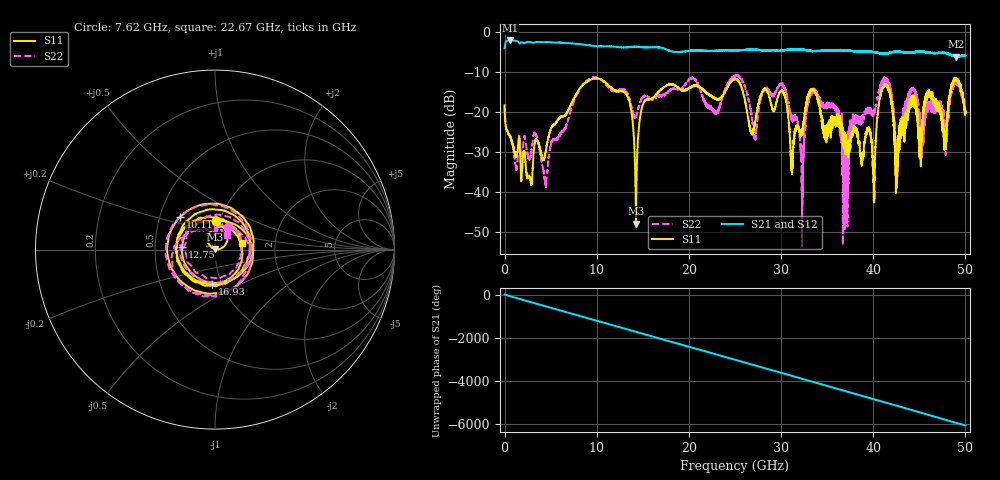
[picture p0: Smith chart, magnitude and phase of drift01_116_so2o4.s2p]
!Created with skrf (http://scikit-rf.org).
# Hz S RI R 50.0
!freq ReS11 ImS11 ReS21 ImS21 ReS12 ImS12 ReS22 ImS22
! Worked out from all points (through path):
!   10001 points, 300 kHz to 50 GHz, reference 50 ohm
!   highest |S21| = -2.00 dB at 570.3 MHz (marker M1); lowest = -6.0 dB at 48.98 GHz (marker M2)
!   group delay of S21, straight-line fit = 336 ps
!   lowest |S11| = -47.8 dB at 14.26 GHz (marker M3), VSWR 1.01, Z = 50 + j0.407 ohm
!   |S11| at or under -10 dB: start of sweep to end of sweep
!   |S22| runs from -53.4 to -10.5 dB; largest |S21 - S12| = 0.023
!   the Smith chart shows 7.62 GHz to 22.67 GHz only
!   S11 on the Smith chart (normalised r, x): 7.62 GHz: 0.97, +0.31; 10.11 GHz: 0.64, +0.25; 12.75 GHz: 0.69, +0.02; 16.93 GHz: 0.90, -0.36; 22.67 GHz: 1.34, +0.10
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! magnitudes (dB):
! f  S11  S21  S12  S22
! 300 kHz  -18.2  -4.0  -4.1  -18.0
! 570.3 MHz  -26.0  -2.0  -2.0  -26.0
! 4.445 GHz  -29.9  -2.4  -2.4  -37.8
! 7.62 GHz  -16.1  -2.8  -2.8  -16.8
! 8.335 GHz  -13.5  -3.0  -3.0  -13.5
! 10.11 GHz  -11.5  -3.5  -3.4  -11.3
! 12.75 GHz  -14.7  -3.7  -3.7  -14.3
! 14.26 GHz  -47.8  -3.6  -3.6  -21.2
! 16.67 GHz  -14.9  -3.7  -3.7  -15.8
! 16.93 GHz  -14.4  -3.8  -3.8  -15.8
! 22.67 GHz  -16.3  -4.6  -4.6  -19.5
! 25 GHz  -11.6  -4.5  -4.5  -10.9
! 27.15 GHz  -22.5  -4.3  -4.3  -26.0
! 30.22 GHz  -14.9  -4.4  -4.4  -13.2
! 32.27 GHz  -25.4  -4.4  -4.3  -44.2
! 33.34 GHz  -14.2  -4.6  -4.6  -14.4
! 36.99 GHz  -30.2  -4.5  -4.4  -30.5
! 40.06 GHz  -40.0  -4.9  -5.0  -20.0
! 41.67 GHz  -14.0  -5.1  -5.1  -12.8
! 42.6 GHz  -33.0  -4.8  -4.8  -31.4
! 48.98 GHz  -11.5  -6.0  -6.0  -12.5
! 50 GHz  -19.6  -5.8  -5.7  -19.6
